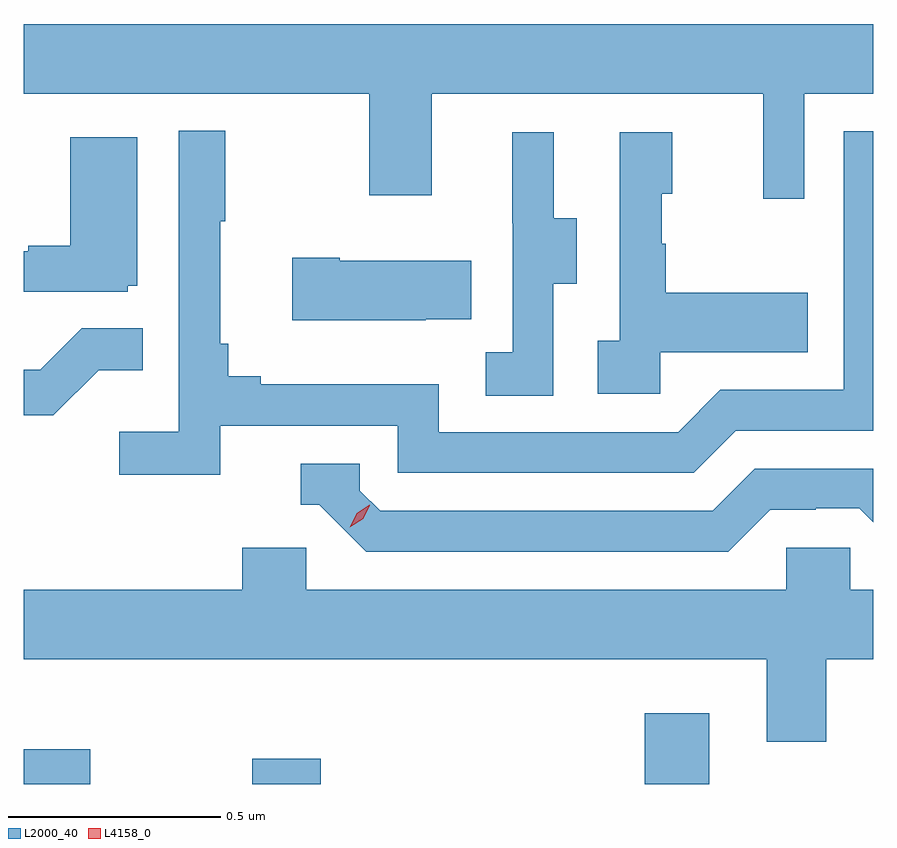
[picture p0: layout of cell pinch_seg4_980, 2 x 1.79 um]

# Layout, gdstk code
import gdstk
lib = gdstk.Library(unit=1e-6, precision=1e-09)
def R(c, l, rs):  # rectangles x0, y0, x1, y1
    for r in rs: c.add(gdstk.rectangle(r[:2], r[2:], *l))
def P(c, l, *ps):  # polygons
    for p in ps: c.add(gdstk.Polygon(p, *l))
L2000_40 = (2000, 40)
L4158_0 = (4158, 0)

pinch_seg4_980 = lib.new_cell('pinch_seg4_980')
R(pinch_seg4_980, L2000_40, [(868.531,769.886,868.687,769.968), (869.069,769.886,869.23,769.945), (869.993,769.886,870.145,770.053)])
P(pinch_seg4_980, L2000_40, [(870.369,771.512),(870.531,771.512),(870.531,771.676),(868.531,771.676),(868.531,771.512),(869.344,771.512),(869.344,771.273),(869.491,771.273),(869.491,771.512),(870.272,771.512),(870.272,771.264),(870.369,771.264)],
  [(868.994,770.73),(869.412,770.73),(869.412,770.619),(870.109,770.619),(870.208,770.718),(870.531,770.718),(870.531,771.423),(870.462,771.423),(870.462,770.814),(870.171,770.814),(870.072,770.715),(869.508,770.715),(869.508,770.827),(869.089,770.827),(869.089,770.846),(869.012,770.846),(869.012,770.923),(868.993,770.923),(868.993,771.211),(869.005,771.211),(869.005,771.424),(868.896,771.424),(868.896,770.716),(868.755,770.716),(868.755,770.614),(868.994,770.614)],
  [(869.778,771.064),(869.833,771.064),(869.833,771.219),(869.779,771.219),(869.779,771.421),(869.681,771.421),(869.681,771.207),(869.682,771.207),(869.682,770.903),(869.619,770.903),(869.619,770.8),(869.778,770.8)],
  [(870.03,770.903),(870.377,770.903),(870.377,771.043),(870.043,771.043),(870.043,771.158),(870.033,771.158),(870.033,771.276),(870.058,771.276),(870.058,771.421),(869.934,771.421),(869.934,770.93),(869.883,770.93),(869.883,770.805),(870.03,770.805)],
  [(868.776,771.06),(868.798,771.06),(868.798,771.409),(868.64,771.409),(868.64,771.154),(868.541,771.154),(868.541,771.141),(868.531,771.141),(868.531,771.045),(868.776,771.045)],
  [(869.477,770.981),(869.585,770.981),(869.585,771.118),(869.275,771.118),(869.275,771.126),(869.163,771.126),(869.163,770.978),(869.477,770.978)],
  [(868.707,770.861),(868.811,770.861),(868.811,770.96),(868.667,770.96),(868.569,770.862),(868.531,770.862),(868.531,770.754),(868.6,770.754)],
  [(870.289,770.532),(870.396,770.532),(870.396,770.535),(870.499,770.535),(870.531,770.503),(870.531,770.628),(870.252,770.628),(870.153,770.529),(869.37,770.529),(869.322,770.577),(869.322,770.64),(869.183,770.64),(869.183,770.544),(869.226,770.544),(869.337,770.433),(870.19,770.433)],
  [(870.421,770.18),(870.531,770.18),(870.531,770.344),(870.477,770.344),(870.477,770.442),(870.327,770.442),(870.327,770.344),(869.196,770.344),(869.196,770.442),(869.045,770.442),(869.045,770.344),(868.531,770.344),(868.531,770.18),(870.281,770.18),(870.281,769.986),(870.421,769.986)])
P(pinch_seg4_980, L4158_0, [(869.299,770.491),(869.299,770.491),(869.315,770.524),(869.345,770.544),(869.345,770.544),(869.345,770.543),(869.33,770.511),(869.299,770.491)])

lib.write_gds('pinch_seg4_980.gds')
